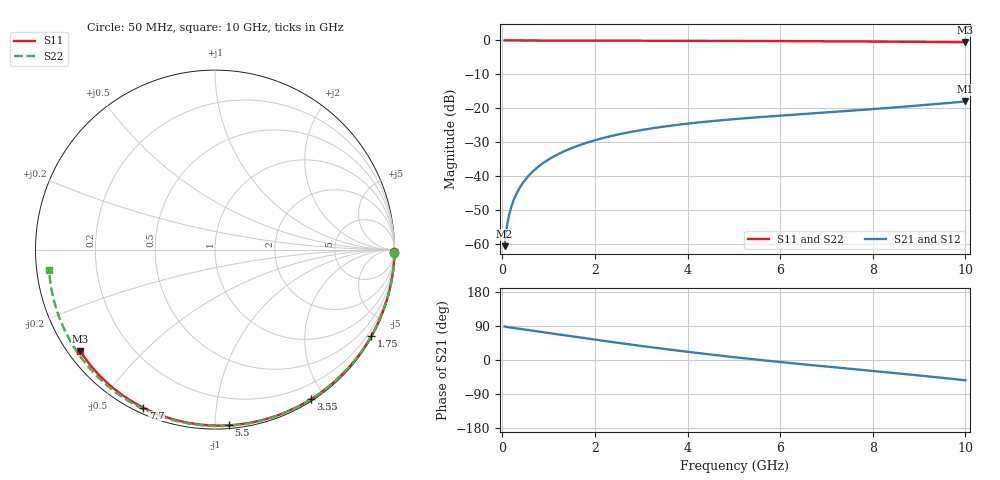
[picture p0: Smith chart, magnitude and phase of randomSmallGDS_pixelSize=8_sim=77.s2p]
! freq	dB(S11)	phase(S11)	dB(S12)	phase(S12)
!  dB(S21)	phase(S21)	dB(S22)	phase(S22)
!S-par simulation data
#  GHz  S  DB  R 50
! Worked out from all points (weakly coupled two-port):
!   200 points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, 50 MHz to 10 GHz, reference 50 ohm
!   highest |S21| = -18.02 dB at 10 GHz (marker M1); lowest = -60.7 dB at 50 MHz (marker M2)
!   lowest |S11| = -0.5 dB at 10 GHz (marker M3), VSWR 32.18, Z = 1.73 - j16.7 ohm
!   |S11| at or under -10 dB: nowhere
!   |S22| runs from -0.6 to 0.0 dB; largest |S21 - S12| = 0
!   S11 on the Smith chart (normalised r, x): 50 MHz: open; 1.75 GHz: 0.04, -3.87; 3.55 GHz: 0.02, -1.83; 5.5 GHz: 0.02, -1.08; 7.7 GHz: 0.02, -0.64; 10 GHz: 0.03, -0.33
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0.05  -0.00 -0.8  -60.74 88.4  -60.74 88.4  -0.00 -1.0
0.1  -0.00 -1.7  -54.79 87.1  -54.79 87.1  -0.00 -2.0
0.15  -0.00 -2.5  -51.34 86.1  -51.34 86.1  -0.00 -3.0
0.2  -0.00 -3.4  -48.89 85.2  -48.89 85.2  -0.00 -4.0
0.25  -0.00 -4.2  -46.99 84.4  -46.99 84.4  -0.00 -5.1
0.35  -0.00 -5.9  -44.11 82.7  -44.11 82.7  -0.01 -7.1
0.5  -0.01 -8.4  -41.05 80.2  -41.05 80.2  -0.01 -10.1
0.7  -0.01 -11.7  -38.17 76.7  -38.17 76.7  -0.02 -14.1
1  -0.02 -16.7  -35.14 71.3  -35.14 71.3  -0.03 -20.0
1.35  -0.03 -22.5  -32.64 65.1  -32.64 65.1  -0.04 -26.9
1.75  -0.04 -29.0  -30.53 58.1  -30.53 58.1  -0.05 -34.7
2.6  -0.06 -42.6  -27.48 43.6  -27.48 43.6  -0.07 -50.8
3.4  -0.08 -55.0  -25.61 30.7  -25.61 30.7  -0.10 -65.5
3.55  -0.09 -57.2  -25.32 28.4  -25.32 28.4  -0.10 -68.1
4.3  -0.11 -68.4  -24.12 17.3  -24.12 17.3  -0.13 -81.3
5.05  -0.14 -79.1  -23.18 6.9  -23.18 6.9  -0.16 -93.9
5.5  -0.16 -85.4  -22.70 1.0  -22.70 1.0  -0.18 -101.3
6.7  -0.22 -101.5  -21.54 -13.8  -21.54 -13.8  -0.26 -120.4
7.7  -0.29 -114.4  -20.57 -25.4  -20.57 -25.4  -0.34 -136.0
8.35  -0.35 -122.6  -19.90 -33.0  -19.90 -33.0  -0.40 -146.2
9.2  -0.44 -133.1  -18.97 -43.2  -18.97 -43.2  -0.50 -159.7
10  -0.54 -143.0  -18.02 -53.5  -18.02 -53.5  -0.62 -172.9
